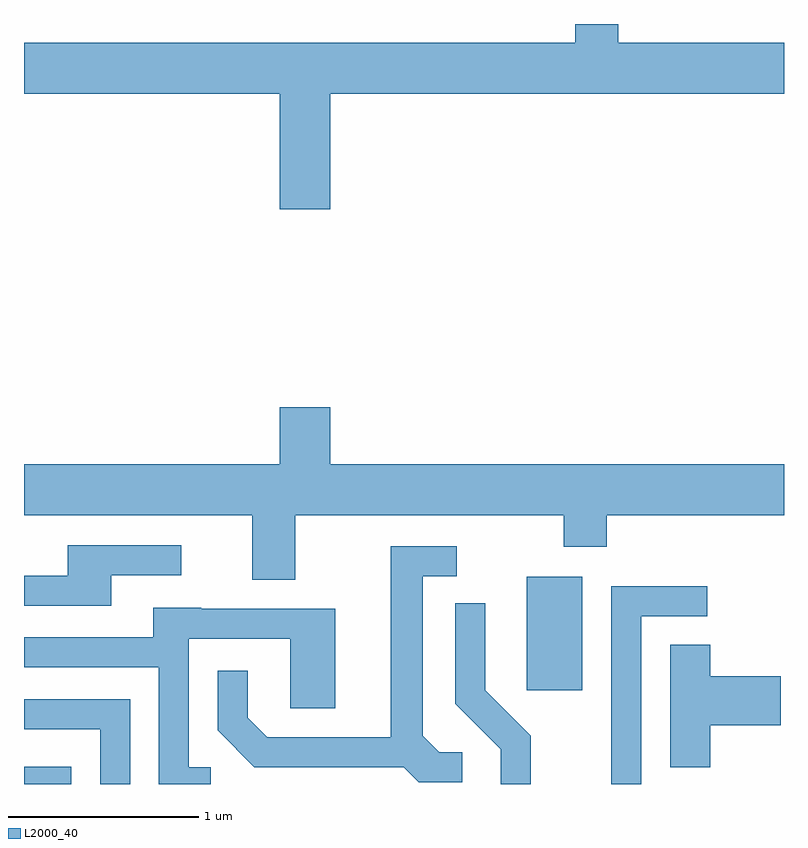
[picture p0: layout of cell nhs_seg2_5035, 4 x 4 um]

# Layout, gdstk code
import gdstk
lib = gdstk.Library(unit=1e-6, precision=1e-09)
def R(c, l, rs):  # rectangles x0, y0, x1, y1
    for r in rs: c.add(gdstk.rectangle(r[:2], r[2:], *l))
def P(c, l, *ps):  # polygons
    for p in ps: c.add(gdstk.Polygon(p, *l))
L2000_40 = (2000, 40)

nhs_seg2_5035 = lib.new_cell('nhs_seg2_5035')
R(nhs_seg2_5035, L2000_40, [(333.611,1035.802,333.859,1035.894), (336.256,1036.296,336.549,1036.894)])
P(nhs_seg2_5035, L2000_40, [(335.224,1039.436),(337.611,1039.436),(337.611,1039.704),(336.739,1039.704),(336.739,1039.802),(336.511,1039.802),(336.511,1039.704),(333.611,1039.704),(333.611,1039.436),(334.956,1039.436),(334.956,1038.826),(335.224,1038.826)],
  [(335.039,1037.216),(336.451,1037.216),(336.451,1037.051),(336.679,1037.051),(336.679,1037.216),(337.611,1037.216),(337.611,1037.484),(335.224,1037.484),(335.224,1037.784),(334.956,1037.784),(334.956,1037.484),(333.611,1037.484),(333.611,1037.216),(334.811,1037.216),(334.811,1036.876),(335.039,1036.876)],
  [(334.069,1036.901),(334.438,1036.901),(334.438,1037.059),(333.841,1037.059),(333.841,1036.899),(333.611,1036.899),(333.611,1036.741),(334.069,1036.741)],
  [(335.918,1035.969),(335.797,1035.969),(335.709,1036.056),(335.709,1036.896),(335.888,1036.896),(335.888,1037.054),(335.541,1037.054),(335.541,1036.049),(334.892,1036.049),(334.789,1036.152),(334.789,1036.398),(334.631,1036.398),(334.631,1036.084),(334.824,1035.891),(335.609,1035.891),(335.689,1035.811),(335.918,1035.811)],
  [(336.859,1036.686),(337.208,1036.686),(337.208,1036.844),(336.701,1036.844),(336.701,1035.802),(336.859,1035.802)],
  [(336.279,1036.056),(336.039,1036.296),(336.039,1036.753),(335.881,1036.753),(335.881,1036.224),(336.121,1035.984),(336.121,1035.802),(336.279,1035.802)],
  [(334.593,1035.889),(334.479,1035.889),(334.479,1036.566),(335.011,1036.566),(335.011,1036.201),(335.249,1036.201),(335.249,1036.724),(334.545,1036.724),(334.545,1036.729),(334.291,1036.729),(334.291,1036.574),(333.611,1036.574),(333.611,1036.416),(334.321,1036.416),(334.321,1035.802),(334.593,1035.802)],
  [(337.224,1036.111),(337.594,1036.111),(337.594,1036.369),(337.224,1036.369),(337.224,1036.534),(337.011,1036.534),(337.011,1035.891),(337.224,1035.891)],
  [(334.169,1036.249),(333.611,1036.249),(333.611,1036.091),(334.011,1036.091),(334.011,1035.802),(334.169,1035.802)])

lib.write_gds('nhs_seg2_5035.gds')
